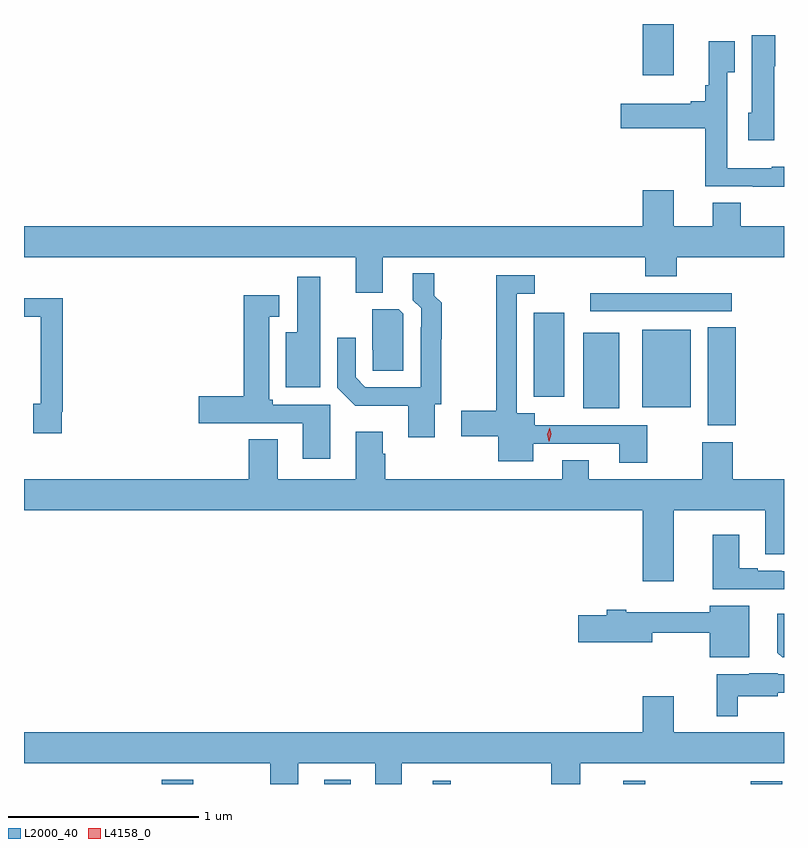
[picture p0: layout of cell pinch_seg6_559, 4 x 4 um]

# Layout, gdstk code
import gdstk
lib = gdstk.Library(unit=1e-6, precision=1e-09)
def R(c, l, rs):  # rectangles x0, y0, x1, y1
    for r in rs: c.add(gdstk.rectangle(r[:2], r[2:], *l))
def P(c, l, *ps):  # polygons
    for p in ps: c.add(gdstk.Polygon(p, *l))
L2000_40 = (2000, 40)
L4158_0 = (4158, 0)

pinch_seg6_559 = lib.new_cell('pinch_seg6_559')
R(pinch_seg6_559, L2000_40, [(582.056,963.212,582.223,963.235), (582.911,963.212,583.051,963.235), (583.482,963.212,583.578,963.229), (584.485,963.212,584.603,963.229), (585.158,963.212,585.322,963.226), (584.93,965.099,585.077,965.615), (584.276,965.189,584.464,965.587), (584.585,965.195,584.842,965.602), (584.015,965.249,584.176,965.692), (584.313,965.7,585.058,965.796), (584.588,966.942,584.752,967.212)])
P(pinch_seg6_559, L2000_40, [(585.28,966.99),(585.286,966.99),(585.286,967.153),(585.161,967.153),(585.161,966.744),(585.143,966.744),(585.143,966.6),(585.28,966.6)],
  [(585.332,966.46),(585.267,966.46),(585.267,966.454),(585.033,966.454),(585.033,966.959),(585.073,966.959),(585.073,967.12),(584.936,967.12),(584.936,966.889),(584.917,966.889),(584.917,966.806),(584.84,966.806),(584.84,966.793),(584.472,966.793),(584.472,966.664),(584.917,966.664),(584.917,966.357),(585.167,966.357),(585.167,966.356),(585.332,966.356)],
  [(583.219,965.984),(584.603,965.984),(584.603,965.885),(584.768,965.885),(584.768,965.984),(585.332,965.984),(585.332,966.148),(585.105,966.148),(585.105,966.272),(584.957,966.272),(584.957,966.148),(584.752,966.148),(584.752,966.337),(584.588,966.337),(584.588,966.148),(581.332,966.148),(581.332,965.984),(583.079,965.984),(583.079,965.797),(583.219,965.797)],
  [(583.495,965.211),(583.528,965.211),(583.528,965.554),(583.53,965.554),(583.53,965.744),(583.492,965.782),(583.492,965.899),(583.379,965.899),(583.379,965.758),(583.422,965.715),(583.422,965.615),(583.419,965.615),(583.419,965.301),(583.128,965.301),(583.077,965.352),(583.077,965.56),(582.981,965.56),(582.981,965.298),(583.075,965.204),(583.355,965.204),(583.355,965.037),(583.495,965.037)],
  [(584.613,965.1),(584.02,965.1),(584.02,965.164),(583.926,965.164),(583.926,965.793),(584.02,965.793),(584.02,965.889),(583.818,965.889),(583.818,965.177),(583.632,965.177),(583.632,965.042),(583.829,965.042),(583.829,964.91),(584.011,964.91),(584.011,965.004),(584.465,965.004),(584.465,964.902),(584.613,964.902)],
  [(582.892,965.881),(582.77,965.881),(582.77,965.59),(582.71,965.59),(582.71,965.3),(582.892,965.3)],
  [(582.943,965.208),(582.64,965.208),(582.64,965.235),(582.622,965.235),(582.622,965.672),(582.676,965.672),(582.676,965.785),(582.488,965.785),(582.488,965.252),(582.252,965.252),(582.252,965.11),(582.504,965.11),(582.504,965.112),(582.8,965.112),(582.8,964.923),(582.943,964.923)],
  [(581.53,965.17),(581.537,965.17),(581.537,965.768),(581.332,965.768),(581.332,965.67),(581.421,965.67),(581.421,965.214),(581.381,965.214),(581.381,965.058),(581.53,965.058)],
  [(583.329,965.688),(583.305,965.712),(583.166,965.712),(583.166,965.497),(583.167,965.497),(583.167,965.386),(583.329,965.386)],
  [(584.752,964.652),(585.233,964.652),(585.233,964.42),(585.332,964.42),(585.332,964.816),(585.062,964.816),(585.062,965.011),(584.902,965.011),(584.902,964.816),(584.305,964.816),(584.305,964.915),(584.165,964.915),(584.165,964.816),(583.232,964.816),(583.232,964.949),(583.219,964.949),(583.219,965.065),(583.079,965.065),(583.079,964.816),(582.667,964.816),(582.667,965.027),(582.515,965.027),(582.515,964.816),(581.332,964.816),(581.332,964.652),(584.588,964.652),(584.588,964.278),(584.752,964.278)],
  [(585.332,964.332),(585.32,964.332),(585.32,964.335),(585.193,964.335),(585.193,964.348),(585.097,964.348),(585.097,964.525),(584.957,964.525),(584.957,964.238),(585.332,964.238)],
  [(585.148,964.15),(584.942,964.15),(584.942,964.117),(584.503,964.117),(584.503,964.13),(584.399,964.13),(584.399,964.1),(584.25,964.1),(584.25,963.958),(584.638,963.958),(584.638,964.008),(584.942,964.008),(584.942,963.878),(585.148,963.878)],
  [(585.332,964.108),(585.296,964.108),(585.296,963.904),(585.322,963.878),(585.332,963.878)],
  [(585.088,963.674),(585.3,963.674),(585.3,963.693),(585.332,963.693),(585.332,963.789),(585.3,963.789),(585.3,963.796),(585.15,963.796),(585.15,963.79),(584.977,963.79),(584.977,963.569),(585.088,963.569)],
  [(581.332,963.32),(582.628,963.32),(582.628,963.212),(582.775,963.212),(582.775,963.32),(583.181,963.32),(583.181,963.212),(583.321,963.212),(583.321,963.32),(584.108,963.32),(584.108,963.212),(584.26,963.212),(584.26,963.32),(585.332,963.32),(585.332,963.484),(584.752,963.484),(584.752,963.673),(584.588,963.673),(584.588,963.484),(581.332,963.484)])
P(pinch_seg6_559, L4158_0, [(584.095,965.017),(584.095,965.017),(584.087,965.053),(584.099,965.088),(584.099,965.088),(584.099,965.088),(584.107,965.052),(584.096,965.017)])

lib.write_gds('pinch_seg6_559.gds')
